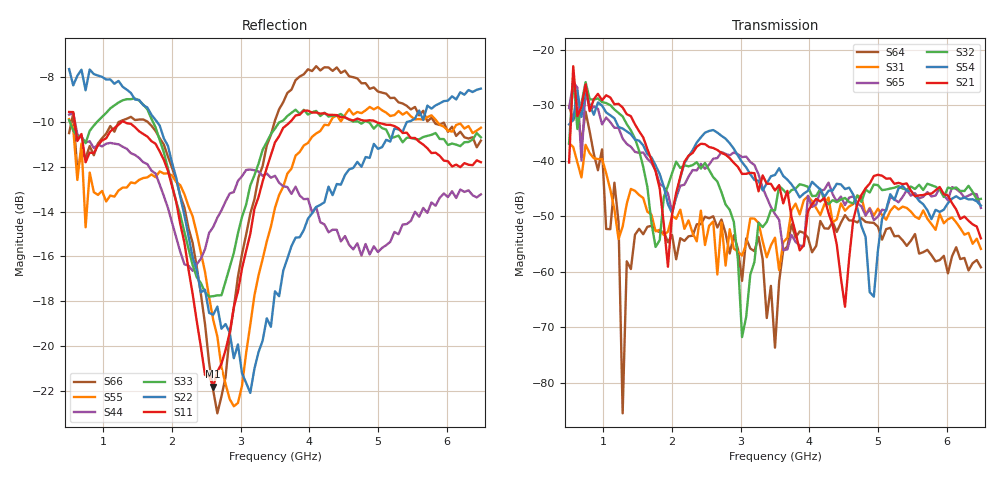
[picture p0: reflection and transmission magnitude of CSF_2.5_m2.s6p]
!Keysight Technologies,M9804A,MY58100912,A.14.10.03
!Date: Thursday, April 27, 2023 10:28:33
!Correction: S11(C  6-Port  )
!S12(C  6-Port  )
!S13(C  6-Port  )
!S14(C  6-Port  )
!S15(C  6-Port  )
!S16(C  6-Port  )
!S21(C  6-Port  )
!S22(C  6-Port  )
!S23(C  6-Port  )
!S24(C  6-Port  )
!S25(C  6-Port  )
!S26(C  6-Port  )
!S31(C  6-Port  )
!S32(C  6-Port  )
!S33(C  6-Port  )
!S34(C  6-Port  )
!S35(C  6-Port  )
!S36(C  6-Port  )
!S41(C  6-Port  )
!S42(C  6-Port  )
!S43(C  6-Port  )
!S44(C  6-Port  )
!S45(C  6-Port  )
!S46(C  6-Port  )
!S51(C  6-Port  )
!S52(C  6-Port  )
!S53(C  6-Port  )
!S54(C  6-Port  )
!S55(C  6-Port  )
!S56(C  6-Port  )
!S61(C  6-Port  )
!S62(C  6-Port  )
!S63(C  6-Port  )
!S64(C  6-Port  )
!S65(C  6-Port  )
!S66(C  6-Port  )
!S6P File: Measurement: :
# Hz S  RI  R 50
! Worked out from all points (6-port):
!   101 points, 500 MHz to 6.5 GHz, reference 50 ohm
!   strongest paths, dB at 500 MHz, 2 GHz, 3.5 GHz, 5 GHz, 6.5 GHz:
!     S21: -40.3, -49.7, -45.4, -42.6, -54.0
!     S54: -33.5, -49.5, -42.6, -56.1, -48.1
!     S32: -37.0, -42.3, -49.0, -44.4, -46.9
!     S65: -30.6, -49.2, -49.6, -50.1, -48.5
!     S31: -36.8, -50.0, -53.9, -48.7, -55.9
!     S64: -30.1, -53.4, -73.7, -51.9, -59.2
!   lowest |S11| = -21.8 dB at 2.6 GHz (marker M1), VSWR 1.18, Z = 42.7 + j1.94 ohm
!   |S11| at or under -10 dB: 580.4 MHz to 1.267 GHz (686.3 MHz wide, 74.3 % of centre); 1.303 GHz to 3.72 GHz (2.418 GHz wide, 96.3 % of centre); 4.974 GHz to end of sweep
